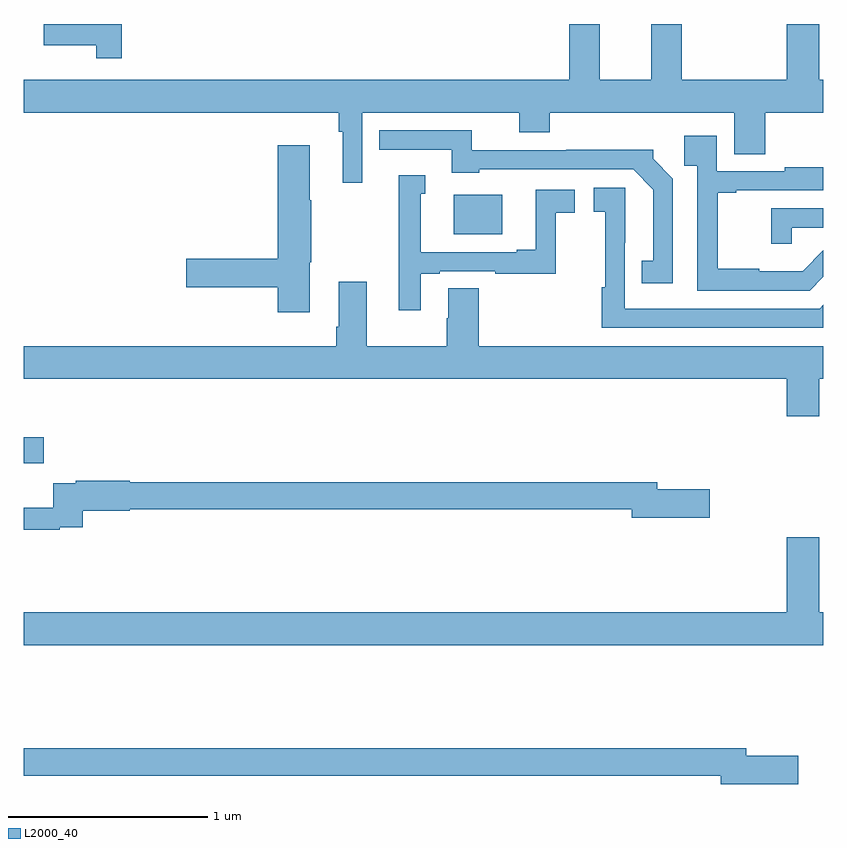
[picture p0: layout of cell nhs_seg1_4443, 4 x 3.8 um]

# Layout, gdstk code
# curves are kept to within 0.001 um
import gdstk
lib = gdstk.Library(unit=1e-6, precision=1e-09)
def R(c, l, rs):  # rectangles x0, y0, x1, y1
    for r in rs: c.add(gdstk.rectangle(r[:2], r[2:], *l))
def P(c, l, *ps):  # polygons
    for p in ps: c.add(gdstk.Polygon(p, *l))
L2000_40 = (2000, 40)

nhs_seg1_4443 = lib.new_cell('nhs_seg1_4443')
R(nhs_seg1_4443, L2000_40, [(353,526.001,353.101,526.131), (355.151,527.147,355.393,527.344)])
P(nhs_seg1_4443, L2000_40, [(353.492,528.199),(353.102,528.199),(353.102,528.092),(353.364,528.092),(353.364,528.027),(353.492,528.027)],
  [(354.693,527.756),(355.478,527.756),(355.478,527.657),(355.631,527.657),(355.631,527.756),(356.555,527.756),(356.555,527.548),(356.708,527.548),(356.708,527.756),(357,527.756),(357,527.92),(356.98,527.92),(356.98,528.199),(356.816,528.199),(356.816,527.92),(356.291,527.92),(356.291,528.199),(356.138,528.199),(356.138,527.92),(355.882,527.92),(355.882,528.199),(355.73,528.199),(355.73,527.92),(353,527.92),(353,527.756),(354.577,527.756),(354.577,527.66),(354.596,527.66),(354.596,527.406),(354.693,527.406)],
  [(356.247,527.426),(356.148,527.525),(356.148,527.57),(355.714,527.57),(355.714,527.568),(355.242,527.568),(355.242,527.667),(354.778,527.667),(354.778,527.571),(355.142,527.571),(355.142,527.456),(355.278,527.456),(355.278,527.472),(356.049,527.472),(356.15,527.371),(356.15,527.015),(356.092,527.015),(356.092,526.902),(356.247,526.902)],
  [(357,526.935),(357,527.067),(356.896,526.963),(356.678,526.963),(356.678,526.975),(356.471,526.975),(356.471,527.355),(356.563,527.355),(356.563,527.367),(357,527.367),(357,527.482),(356.807,527.482),(356.807,527.463),(356.466,527.463),(356.466,527.641),(356.305,527.641),(356.305,527.489),(356.37,527.489),(356.37,526.866),(356.931,526.866)],
  [(354.43,527.007),(354.438,527.007),(354.438,527.318),(354.43,527.318),(354.43,527.593),(354.272,527.593),(354.272,527.024),(353.814,527.024),(353.814,526.882),(354.272,526.882),(354.272,526.758),(354.43,526.758)],
  [(354.985,526.95),(355.081,526.95),(355.081,526.962),(355.36,526.962),(355.36,526.95),(355.662,526.95),(355.662,527.254),(355.756,527.254),(355.756,527.37),(355.562,527.37),(355.562,527.071),(355.466,527.071),(355.466,527.058),(354.985,527.058),(354.985,527.349),(355.009,527.349),(355.009,527.443),(354.876,527.443),(354.876,527.011),(354.875,527.011),(354.875,526.767),(354.985,526.767)],
  [(357,526.794),(356.982,526.776),(356.007,526.776),(356.008,527.38),(355.851,527.38),(355.851,527.259),(355.909,527.259),(355.909,526.883),(355.891,526.883),(355.891,526.68),(357,526.68)],
  [(356.841,527.181),(357,527.181),(357,527.277),(356.74,527.277),(356.74,527.1),(356.841,527.1)],
  [(356.98,526.424),(357,526.424),(357,526.588),(355.277,526.588),(355.277,526.877),(355.124,526.877),(355.124,526.727),(355.117,526.727),(355.117,526.588),(354.715,526.588),(354.715,526.909),(354.575,526.909),(354.575,526.684),(354.563,526.684),(354.563,526.588),(353,526.588),(353,526.424),(356.816,526.424),(356.816,526.236),(356.98,526.236)],
  [(353.18,525.681),(353.297,525.681),(353.297,525.764),(353.532,525.764),(353.532,525.772),(356.042,525.772),(356.042,525.73),(356.431,525.73),(356.431,525.872),(356.17,525.872),(356.17,525.908),(353.532,525.908),(353.532,525.914),(353.26,525.914),(353.26,525.901),(353.149,525.901),(353.149,525.78),(353,525.78),(353,525.669),(353.18,525.669)],
  [(357,525.256),(356.98,525.256),(356.98,525.631),(356.816,525.631),(356.816,525.256),(353,525.256),(353,525.092),(357,525.092)],
  [(356.875,524.54),(356.614,524.54),(356.614,524.576),(353,524.576),(353,524.44),(356.486,524.44),(356.486,524.398),(356.875,524.398)])

lib.write_gds('nhs_seg1_4443.gds')
